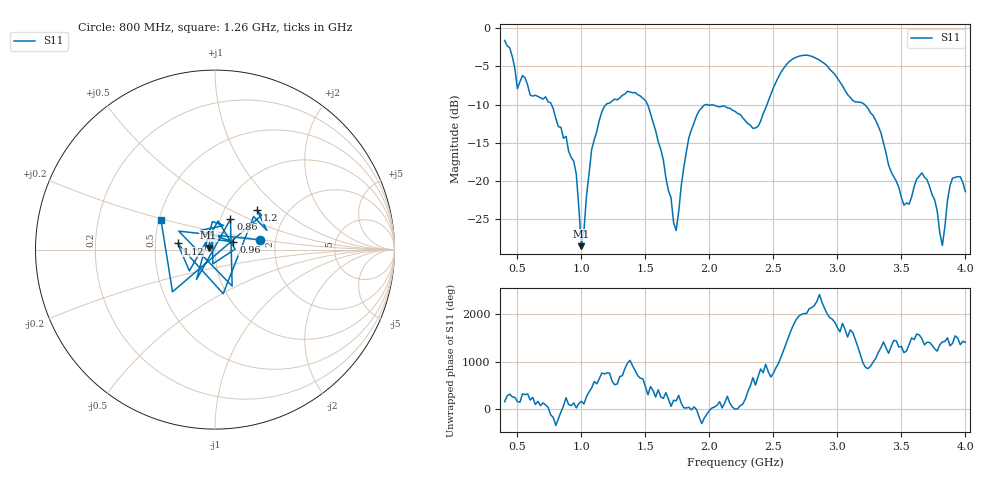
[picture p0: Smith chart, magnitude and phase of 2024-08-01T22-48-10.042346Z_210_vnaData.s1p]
!Created with skrf (http://scikit-rf.org).
# Hz S RI R 50.0
!freq ReS11 ImS11
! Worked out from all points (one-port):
!   181 points, 400 MHz to 4 GHz, reference 50 ohm
!   lowest |S11| = -28.5 dB at 1 GHz (marker M1), VSWR 1.08, Z = 46.5 + j1.06 ohm
!   |S11| at or under -10 dB: 1.517 GHz to 1.974 GHz (457.3 MHz wide, 26.2 % of centre); 1.984 GHz to 2.45 GHz (465.8 MHz wide, 21 % of centre); 3.212 GHz to end of sweep (the widest 3 of 4)
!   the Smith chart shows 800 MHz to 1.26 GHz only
!   S11 on the Smith chart (normalised r, x): 800 MHz: 1.66, +0.19; 860 MHz: 1.12, +0.39; 960 MHz: 1.22, +0.11; 1.12 GHz: 0.65, +0.05; 1.2 GHz: 1.42, +0.69; 1.26 GHz: 0.51, +0.19
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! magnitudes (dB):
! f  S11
! 400 MHz  -1.6
! 500 MHz  -7.9
! 540 MHz  -6.2
! 800 MHz  -11.8
! 860 MHz  -14.4
! 960 MHz  -19.1
! 1 GHz  -28.5
! 1.08 GHz  -15.9
! 1.12 GHz  -13.5
! 1.2 GHz  -9.9
! 1.26 GHz  -9.3
! 1.3 GHz  -9.1
! 1.52 GHz  -10.1
! 1.72 GHz  -25.4
! 1.76 GHz  -24.0
! 1.84 GHz  -14.3
! 1.92 GHz  -10.8
! 2.2 GHz  -10.9
! 2.38 GHz  -12.8
! 2.66 GHz  -3.9
! 3.1 GHz  -9.1
! 3.28 GHz  -11.4
! 3.56 GHz  -23.0
! 3.66 GHz  -18.9
! 3.76 GHz  -22.5
! 3.82 GHz  -28.4
! 3.9 GHz  -19.6
! 4 GHz  -21.4
